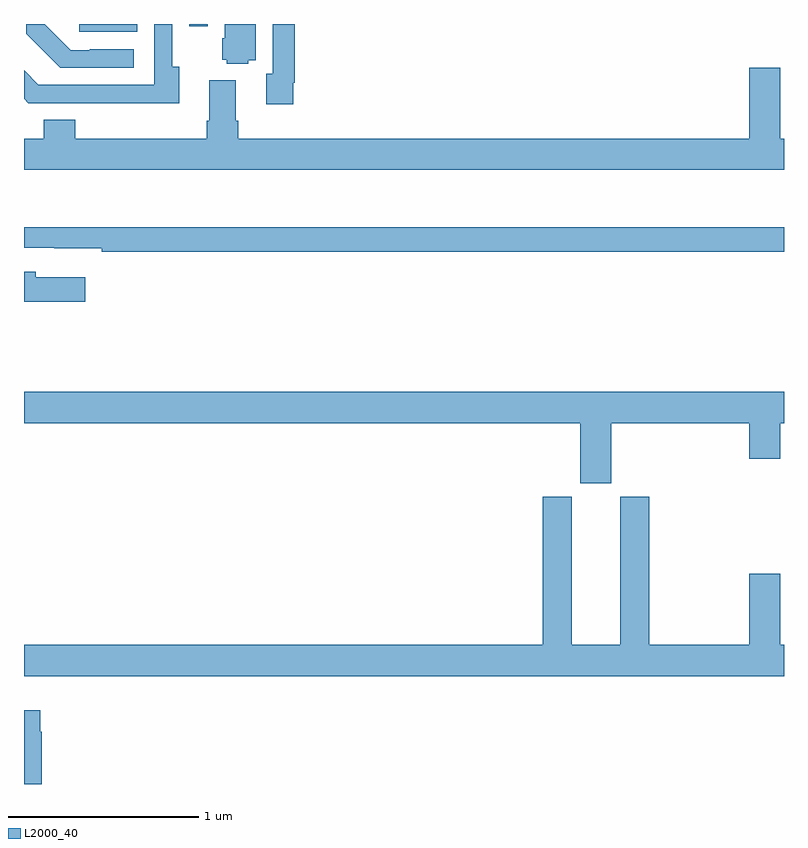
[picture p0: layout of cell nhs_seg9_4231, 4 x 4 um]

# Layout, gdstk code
import gdstk
lib = gdstk.Library(unit=1e-6, precision=1e-09)
def R(c, l, rs):  # rectangles x0, y0, x1, y1
    for r in rs: c.add(gdstk.rectangle(r[:2], r[2:], *l))
def P(c, l, *ps):  # polygons
    for p in ps: c.add(gdstk.Polygon(p, *l))
L2000_40 = (2000, 40)

nhs_seg9_4231 = lib.new_cell('nhs_seg9_4231')
R(nhs_seg9_4231, L2000_40, [(353.292,1218.459,353.596,1218.5), (353.871,1218.489,353.967,1218.5)])
P(nhs_seg9_4231, L2000_40, [(353.818,1218.274),(353.781,1218.274),(353.781,1218.5),(353.685,1218.5),(353.685,1218.18),(353.076,1218.18),(353,1218.256),(353,1218.106),(353.022,1218.084),(353.353,1218.084),(353.353,1218.083),(353.818,1218.083)],
  [(354.18,1218.308),(354.22,1218.308),(354.22,1218.5),(354.056,1218.5),(354.056,1218.426),(354.044,1218.426),(354.044,1218.312),(354.066,1218.312),(354.066,1218.29),(354.18,1218.29)],
  [(354.418,1218.19),(354.425,1218.19),(354.425,1218.5),(354.309,1218.5),(354.309,1218.239),(354.275,1218.239),(354.275,1218.078),(354.418,1218.078)],
  [(353.578,1218.366),(353.347,1218.366),(353.347,1218.363),(353.247,1218.363),(353.11,1218.5),(353.013,1218.5),(353.013,1218.449),(353.192,1218.27),(353.578,1218.27)],
  [(357,1217.896),(356.98,1217.896),(356.98,1218.271),(356.816,1218.271),(356.816,1217.896),(354.128,1217.896),(354.128,1217.992),(354.115,1217.992),(354.115,1218.205),(353.975,1218.205),(353.975,1217.992),(353.963,1217.992),(353.963,1217.896),(353.27,1217.896),(353.27,1217.995),(353.105,1217.995),(353.105,1217.896),(353,1217.896),(353,1217.732),(357,1217.732)],
  [(357,1217.431),(353,1217.431),(353,1217.322),(353.158,1217.322),(353.158,1217.321),(353.41,1217.321),(353.41,1217.302),(357,1217.302)],
  [(353.323,1217.167),(353.062,1217.167),(353.062,1217.196),(353,1217.196),(353,1217.038),(353.323,1217.038)],
  [(356.092,1216.4),(356.816,1216.4),(356.816,1216.212),(356.98,1216.212),(356.98,1216.4),(357,1216.4),(357,1216.564),(353,1216.564),(353,1216.4),(355.928,1216.4),(355.928,1216.083),(356.092,1216.083)],
  [(357,1215.232),(356.98,1215.232),(356.98,1215.607),(356.816,1215.607),(356.816,1215.232),(356.291,1215.232),(356.291,1216.011),(356.138,1216.011),(356.138,1215.232),(355.882,1215.232),(355.882,1216.011),(355.73,1216.011),(355.73,1215.232),(353,1215.232),(353,1215.068),(357,1215.068)],
  [(353.093,1214.774),(353.086,1214.774),(353.086,1214.887),(353,1214.887),(353,1214.5),(353.093,1214.5)])

lib.write_gds('nhs_seg9_4231.gds')
